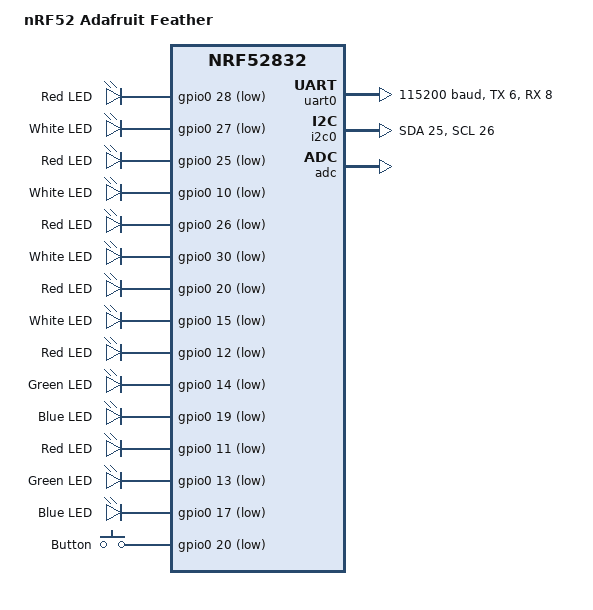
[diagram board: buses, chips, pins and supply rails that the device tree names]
/*
 * Copyright (c) 2018 LEDCity AG
 * Copyright (c) 2017 Linaro Limited
 * Copyright (c) 2020 tecVenture
 *
 * SPDX-License-Identifier: Apache-2.0
 */

/dts-v1/;
#include <nordic/nrf52832_qfaa.dtsi>

/ {
	model = "nRF52 Adafruit Feather";
	compatible = "adafruit,nrf52_adafruit_feather";

	chosen {
		zephyr,console = &uart0;
		zephyr,shell-uart = &uart0;
		zephyr,uart-mcumgr = &uart0;
		zephyr,bt-mon-uart = &uart0;
		zephyr,bt-c2h-uart = &uart0;
		zephyr,sram = &sram0;
		zephyr,flash = &flash0;
		zephyr,code-partition = &slot0_partition;
	};

	/* These aliases are provided for compatibility with samples */
	aliases {
		led0 = &led_l1_r;
		led1 = &led_l2_w;
		ledl1r = &led_l1_r;
		ledl1w = &led_l1_w;
		ledl2r = &led_l2_r;
		ledl2w = &led_l2_w;
		ledl3r = &led_l3_r;
		ledl3w = &led_l3_w;
		lednr = &led_n_r;
		lednw = &led_n_w;
		ledper = &led_pe_r;
		ledpeg = &led_pe_g;
		ledpeb = &led_pe_b;
		ledtempr = &led_temp_r;
		ledtempg = &led_temp_g;
		ledtempb = &led_temp_b;
		sw0 = &button0;
	};

	leds {
		compatible = "gpio-leds";
		led_l1_r: led_0 {
			gpios = <&gpio0 28 GPIO_ACTIVE_LOW>;
			label = "Red LED";
		};
		led_l1_w: led_1 {
			gpios = <&gpio0 27 GPIO_ACTIVE_LOW>;
			label = "White LED";
		};

		led_l2_r: led_2 {
			gpios = <&gpio0 25 GPIO_ACTIVE_LOW>;
			label = "Red LED";
		};
		led_l2_w: led_3 {
			gpios = <&gpio0 10 GPIO_ACTIVE_LOW>;
			label = "White LED";
		};
		
		led_l3_r: led_4 {
			gpios = <&gpio0 26 GPIO_ACTIVE_LOW>;
			label = "Red LED";
		};
		led_l3_w: led_5 {
			gpios = <&gpio0 30 GPIO_ACTIVE_LOW>;
			label = "White LED";
		};

		led_n_r: led_6 {
			gpios = <&gpio0 20 GPIO_ACTIVE_LOW>;
			label = "Red LED";
		};
		led_n_w: led_7 {
			gpios = <&gpio0 15 GPIO_ACTIVE_LOW>;
			label = "White LED";
		};

		led_pe_r: led_8 {
			gpios = <&gpio0 12 GPIO_ACTIVE_LOW>;
			label = "Red LED";
		};
		led_pe_g: led_9 {
			gpios = <&gpio0 14 GPIO_ACTIVE_LOW>;
			label = "Green LED";
		};
		led_pe_b: led_10 {
			gpios = <&gpio0 19 GPIO_ACTIVE_LOW>;
			label = "Blue LED";
		};
		
		led_temp_r: led_11 {
			gpios = <&gpio0 11 GPIO_ACTIVE_LOW>;
			label = "Red LED";
		};
		led_temp_g: led_12 {
			gpios = <&gpio0 13 GPIO_ACTIVE_LOW>;
			label = "Green LED";
		};
		led_temp_b: led_13 {
			gpios = <&gpio0 17 GPIO_ACTIVE_LOW>;
			label = "Blue LED";
		};
	};

	buttons {
		compatible = "gpio-keys";
		button0: button_0 {
			gpios = <&gpio0 20 (GPIO_PULL_UP | GPIO_ACTIVE_LOW)>;
			label = "Button";
		};
	};
};

&gpiote {
	status = "okay";
};

&gpio0 {
	status = "okay";
};

&uart0 {
	compatible = "nordic,nrf-uart";
	current-speed = <115200>;
	status = "okay";
	tx-pin = <6>;
	rx-pin = <8>;
};

&i2c0 {
	compatible = "nordic,nrf-twi";
	sda-pin = <25>;
	scl-pin = <26>;
};

&adc { /* ADC */
	status = "okay";
};

&flash0 {
	/*
	 * For more information, see:
	 * http://docs.zephyrproject.org/latest/guides/dts/index.html#flash-partitions
	 */
	partitions {
		compatible = "fixed-partitions";
		#address-cells = <1>;
		#size-cells = <1>;

		boot_partition: partition@0 {
			label = "mcuboot";
			reg = <0x00000000 0xc000>;
		};
		slot0_partition: partition@c000 {
			label = "image-0";
			reg = <0x0000C000 0x32000>;
		};
		slot1_partition: partition@3e000 {
			label = "image-1";
			reg = <0x0003E000 0x32000>;
		};
		scratch_partition: partition@70000 {
			label = "image-scratch";
			reg = <0x00070000 0xa000>;
		};
		storage_partition: partition@7a000 {
			label = "storage";
			reg = <0x0007a000 0x00006000>;
		};
	};
};
